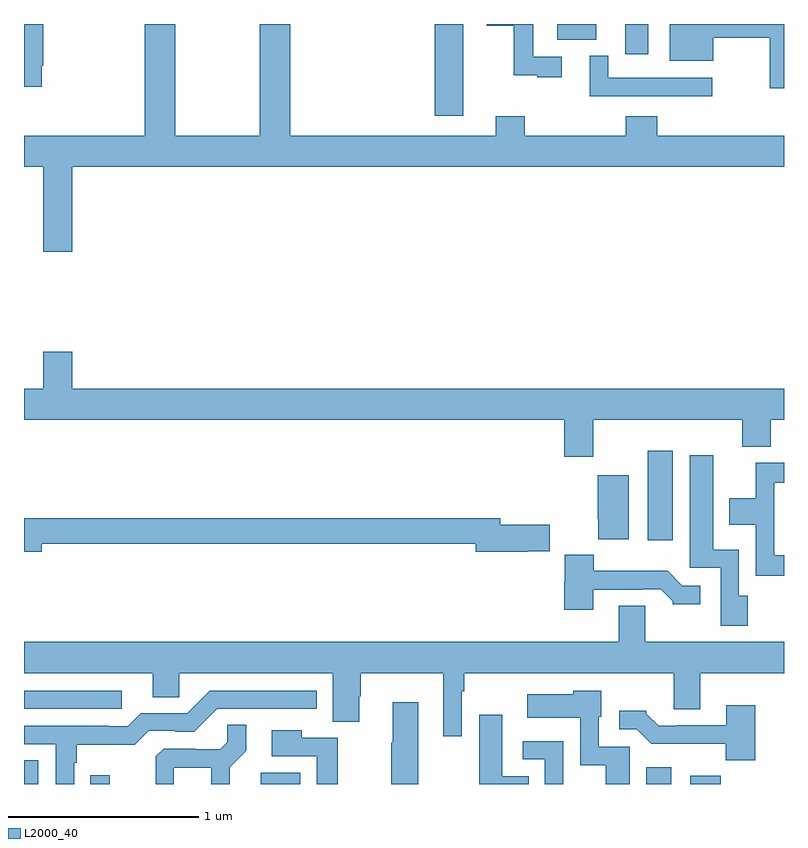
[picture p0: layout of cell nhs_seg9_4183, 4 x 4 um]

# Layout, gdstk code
import gdstk
lib = gdstk.Library(unit=1e-6, precision=1e-09)
def R(c, l, rs):  # rectangles x0, y0, x1, y1
    for r in rs: c.add(gdstk.rectangle(r[:2], r[2:], *l))
def P(c, l, *ps):  # polygons
    for p in ps: c.add(gdstk.Polygon(p, *l))
L2000_40 = (2000, 40)

nhs_seg9_4183 = lib.new_cell('nhs_seg9_4183')
R(nhs_seg9_4183, L2000_40, [(351,1198.5,351.075,1198.625), (351.349,1198.5,351.45,1198.546), (352.247,1198.5,352.453,1198.558), (354.275,1198.5,354.406,1198.588), (354.506,1198.5,354.668,1198.543), (351,1198.896,351.514,1198.992), (354.284,1199.784,354.415,1200.253), (353.162,1202.016,353.311,1202.5), (354.164,1202.34,354.286,1202.5), (353.807,1202.417,354.013,1202.5)])
P(nhs_seg9_4183, L2000_40, [(355,1202.5),(354.398,1202.5),(354.398,1202.306),(354.628,1202.306),(354.628,1202.428),(354.925,1202.428),(354.925,1202.163),(355,1202.163)],
  [(351.254,1201.748),(355,1201.748),(355,1201.912),(354.332,1201.912),(354.332,1202.014),(354.167,1202.014),(354.167,1201.912),(353.636,1201.912),(353.636,1202.014),(353.483,1202.014),(353.483,1201.912),(352.4,1201.912),(352.4,1202.5),(352.24,1202.5),(352.24,1201.912),(351.795,1201.912),(351.795,1202.5),(351.635,1202.5),(351.635,1201.912),(351,1201.912),(351,1201.748),(351.101,1201.748),(351.101,1201.302),(351.254,1201.302)],
  [(351.094,1202.281),(351.101,1202.281),(351.101,1202.5),(351,1202.5),(351,1202.169),(351.094,1202.169)],
  [(353.83,1202.328),(353.679,1202.328),(353.679,1202.5),(353.436,1202.5),(353.436,1202.491),(353.578,1202.491),(353.578,1202.231),(353.702,1202.231),(353.702,1202.22),(353.83,1202.22)],
  [(354.622,1202.217),(354.075,1202.217),(354.075,1202.332),(353.978,1202.332),(353.978,1202.121),(354.622,1202.121)],
  [(353.995,1200.416),(354.779,1200.416),(354.779,1200.275),(354.931,1200.275),(354.931,1200.416),(355,1200.416),(355,1200.58),(351.254,1200.58),(351.254,1200.775),(351.101,1200.775),(351.101,1200.58),(351,1200.58),(351,1200.416),(353.843,1200.416),(353.843,1200.222),(353.995,1200.222)],
  [(354.81,1199.49),(354.762,1199.49),(354.762,1199.734),(354.628,1199.734),(354.628,1200.229),(354.503,1200.229),(354.503,1199.637),(354.666,1199.637),(354.666,1199.334),(354.81,1199.334)],
  [(355,1199.703),(354.948,1199.703),(354.948,1200.086),(355,1200.086),(355,1200.19),(354.85,1200.19),(354.85,1200.004),(354.713,1200.004),(354.713,1199.864),(354.852,1199.864),(354.852,1199.595),(355,1199.595)],
  [(354.184,1200.124),(354.02,1200.124),(354.02,1199.896),(354.022,1199.896),(354.022,1199.789),(354.184,1199.789)],
  [(351.094,1199.764),(353.378,1199.764),(353.378,1199.722),(353.654,1199.722),(353.654,1199.724),(353.767,1199.724),(353.767,1199.864),(353.506,1199.864),(353.506,1199.9),(351,1199.9),(351,1199.722),(351.094,1199.722)],
  [(353.995,1199.523),(354.251,1199.523),(354.251,1199.526),(354.35,1199.526),(354.414,1199.462),(354.414,1199.447),(354.559,1199.447),(354.559,1199.544),(354.465,1199.544),(354.387,1199.623),(353.998,1199.623),(353.998,1199.707),(353.846,1199.707),(353.846,1199.565),(353.843,1199.565),(353.843,1199.418),(353.995,1199.418)],
  [(353.304,1198.988),(353.317,1198.988),(353.317,1199.084),(354.419,1199.084),(354.419,1198.894),(354.559,1198.894),(354.559,1199.084),(355,1199.084),(355,1199.248),(354.271,1199.248),(354.271,1199.438),(354.131,1199.438),(354.131,1199.248),(351,1199.248),(351,1199.084),(351.677,1199.084),(351.677,1198.957),(351.816,1198.957),(351.816,1199.084),(352.625,1199.084),(352.625,1198.828),(352.765,1198.828),(352.765,1198.962),(352.773,1198.962),(352.773,1199.084),(353.207,1199.084),(353.207,1198.752),(353.304,1198.752)],
  [(351.264,1198.613),(351.277,1198.613),(351.277,1198.706),(351.584,1198.706),(351.657,1198.779),(351.796,1198.779),(351.796,1198.776),(351.897,1198.776),(352.017,1198.896),(352.54,1198.896),(352.54,1198.992),(351.978,1198.992),(351.858,1198.872),(351.615,1198.872),(351.546,1198.803),(351.446,1198.803),(351.446,1198.806),(351,1198.806),(351,1198.71),(351.168,1198.71),(351.168,1198.5),(351.264,1198.5)],
  [(354.187,1198.695),(354.024,1198.695),(354.024,1198.854),(354.037,1198.854),(354.037,1198.99),(353.892,1198.99),(353.892,1198.972),(353.649,1198.972),(353.649,1198.85),(353.928,1198.85),(353.928,1198.598),(354.062,1198.598),(354.062,1198.5),(354.187,1198.5)],
  [(353.074,1198.93),(352.94,1198.93),(352.94,1198.717),(352.933,1198.717),(352.933,1198.5),(353.074,1198.5)],
  [(354.848,1198.915),(354.695,1198.915),(354.695,1198.809),(354.439,1198.809),(354.439,1198.806),(354.34,1198.806),(354.276,1198.87),(354.276,1198.885),(354.132,1198.885),(354.132,1198.788),(354.225,1198.788),(354.301,1198.712),(354.693,1198.712),(354.693,1198.625),(354.848,1198.625)],
  [(353.657,1198.54),(353.518,1198.54),(353.518,1198.864),(353.396,1198.864),(353.396,1198.5),(353.657,1198.5)],
  [(351.788,1198.586),(351.986,1198.586),(351.986,1198.5),(352.083,1198.5),(352.083,1198.589),(352.169,1198.675),(352.169,1198.811),(352.071,1198.811),(352.071,1198.72),(352.034,1198.683),(351.9,1198.683),(351.9,1198.686),(351.735,1198.686),(351.694,1198.645),(351.694,1198.5),(351.788,1198.5)],
  [(352.651,1198.743),(352.461,1198.743),(352.461,1198.783),(352.305,1198.783),(352.305,1198.647),(352.542,1198.647),(352.542,1198.5),(352.651,1198.5)],
  [(353.838,1198.725),(353.625,1198.725),(353.625,1198.629),(353.742,1198.629),(353.742,1198.5),(353.838,1198.5)])

lib.write_gds('nhs_seg9_4183.gds')
